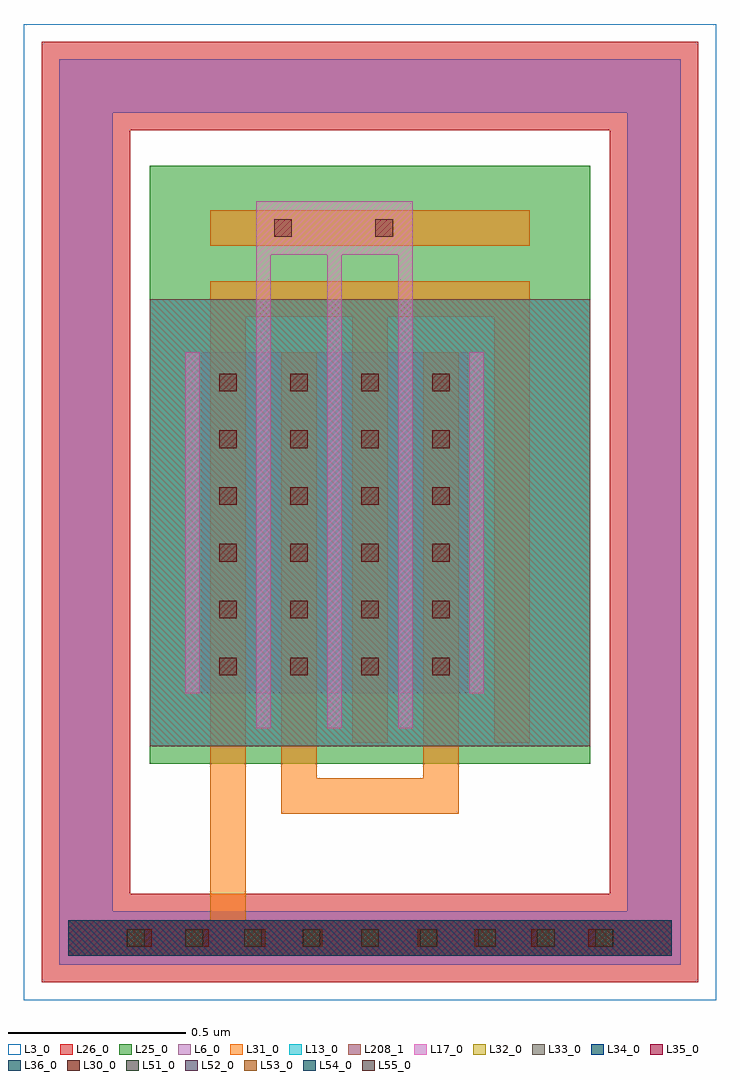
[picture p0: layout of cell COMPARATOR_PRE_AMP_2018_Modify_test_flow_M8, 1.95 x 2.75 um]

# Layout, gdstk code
import gdstk
lib = gdstk.Library(unit=1e-6, precision=1e-09)
def R(c, l, rs):  # rectangles x0, y0, x1, y1
    for r in rs: c.add(gdstk.rectangle(r[:2], r[2:], *l))
def A(c, l, x, y, w, h, nx, ny, dx, dy):  # array of equal rectangles
    R(c, l, [(x+i*dx, y+j*dy, x+i*dx+w, y+j*dy+h) for i in range(nx) for j in range(ny)])
L3_0 = (3, 0)
L6_0 = (6, 0)
L13_0 = (13, 0)
L17_0 = (17, 0)
L25_0 = (25, 0)
L26_0 = (26, 0)
L30_0 = (30, 0)
L31_0 = (31, 0)
L32_0 = (32, 0)
L33_0 = (33, 0)
L34_0 = (34, 0)
L35_0 = (35, 0)
L36_0 = (36, 0)
L51_0 = (51, 0)
L52_0 = (52, 0)
L53_0 = (53, 0)
L54_0 = (54, 0)
L55_0 = (55, 0)
L208_1 = (208, 1)

comparator_pre_amp_2018_ = lib.new_cell('COMPARATOR_PRE_AMP_2018_Modify_test_flow_M8')
R(comparator_pre_amp_2018_, L3_0, [(-0.575,-0.775,1.375,1.975), (-0.22,-0.06,1.02,1.2)])
R(comparator_pre_amp_2018_, L6_0, [(-0.475,-0.675,-0.325,-0.525), (-0.325,-0.675,1.125,-0.525), (1.125,-0.675,1.275,-0.525), (-0.475,-0.525,-0.325,1.725), (1.125,-0.525,1.275,1.725), (-0.075,0.09,0.675,1.05), (-0.475,1.725,-0.325,1.875), (-0.325,1.725,1.125,1.875), (1.125,1.725,1.275,1.875)])
R(comparator_pre_amp_2018_, L13_0, [(-0.22,-0.06,1.02,1.2)])
A(comparator_pre_amp_2018_, L17_0, 0.08, -0.01, 0.04, 1.16, 3, 1, 0.2, 0)
A(comparator_pre_amp_2018_, L17_0, 0.08, 1.05, 0.04, 0.3, 3, 1, 0.2, 0)
R(comparator_pre_amp_2018_, L17_0, [(-0.12,0.09,-0.08,1.05), (0.68,0.09,0.72,1.05), (0.08,1.325,0.52,1.475)])
R(comparator_pre_amp_2018_, L25_0, [(-0.22,-0.11,1.02,1.575)])
R(comparator_pre_amp_2018_, L26_0, [(-0.525,-0.725,-0.275,-0.475), (-0.325,-0.725,1.125,-0.475), (1.075,-0.725,1.325,-0.475), (-0.525,-0.525,-0.275,1.725), (1.075,-0.525,1.325,1.725), (-0.525,1.675,-0.275,1.925), (-0.325,1.675,1.125,1.925), (1.075,1.675,1.325,1.925)])
A(comparator_pre_amp_2018_, L30_0, -0.265, -0.625, 0.05, 0.05, 9, 1, 0.16, 0)
A(comparator_pre_amp_2018_, L30_0, -0.025, 0.14, 0.05, 0.05, 4, 6, 0.2, 0.16)
R(comparator_pre_amp_2018_, L30_0, [(0.13,1.375,0.18,1.425), (0.415,1.375,0.465,1.425)])
A(comparator_pre_amp_2018_, L31_0, -0.05, -0.05, 0.1, 1.1, 5, 1, 0.2, 0)
A(comparator_pre_amp_2018_, L31_0, -0.05, 0.09, 0.1, 0.96, 4, 1, 0.2, 0)
A(comparator_pre_amp_2018_, L31_0, -0.05, 1.05, 0.1, 0.1, 3, 1, 0.4, 0)
R(comparator_pre_amp_2018_, L31_0, [(-0.45,-0.65,-0.35,-0.55), (-0.35,-0.65,-0.325,-0.55), (-0.325,-0.65,1.125,-0.55), (-0.05,-0.65,0.05,1.15), (1.125,-0.65,1.15,-0.55), (1.15,-0.65,1.25,-0.55), (0.15,-0.25,0.65,-0.15), (0.15,-0.15,0.25,-0.05), (0.55,-0.15,0.65,-0.05), (-0.05,1.15,0.85,1.25), (-0.05,1.35,0.85,1.45), (0.08,1.35,0.52,1.45)])
R(comparator_pre_amp_2018_, L32_0, [(-0.45,-0.65,-0.35,-0.55), (-0.35,-0.65,-0.325,-0.55), (-0.325,-0.65,1.125,-0.55), (1.125,-0.65,1.15,-0.55), (1.15,-0.65,1.25,-0.55)])
R(comparator_pre_amp_2018_, L33_0, [(-0.45,-0.65,-0.35,-0.55), (-0.35,-0.65,-0.325,-0.55), (-0.325,-0.65,1.125,-0.55), (1.125,-0.65,1.15,-0.55), (1.15,-0.65,1.25,-0.55)])
R(comparator_pre_amp_2018_, L34_0, [(-0.45,-0.65,-0.35,-0.55), (-0.35,-0.65,-0.325,-0.55), (-0.325,-0.65,1.125,-0.55), (1.125,-0.65,1.15,-0.55), (1.15,-0.65,1.25,-0.55)])
R(comparator_pre_amp_2018_, L35_0, [(-0.45,-0.65,-0.35,-0.55), (-0.35,-0.65,-0.325,-0.55), (-0.325,-0.65,1.125,-0.55), (1.125,-0.65,1.15,-0.55), (1.15,-0.65,1.25,-0.55)])
R(comparator_pre_amp_2018_, L36_0, [(-0.45,-0.65,-0.35,-0.55), (-0.35,-0.65,-0.325,-0.55), (-0.325,-0.65,1.125,-0.55), (1.125,-0.65,1.15,-0.55), (1.15,-0.65,1.25,-0.55)])
A(comparator_pre_amp_2018_, L51_0, -0.285, -0.625, 0.05, 0.05, 9, 1, 0.165, 0)
A(comparator_pre_amp_2018_, L52_0, -0.285, -0.625, 0.05, 0.05, 9, 1, 0.165, 0)
A(comparator_pre_amp_2018_, L53_0, -0.285, -0.625, 0.05, 0.05, 9, 1, 0.165, 0)
A(comparator_pre_amp_2018_, L54_0, -0.285, -0.625, 0.05, 0.05, 9, 1, 0.165, 0)
A(comparator_pre_amp_2018_, L55_0, -0.285, -0.625, 0.05, 0.05, 9, 1, 0.165, 0)
R(comparator_pre_amp_2018_, L208_1, [(-0.22,-0.06,1.02,1.2)])

lib.write_gds('COMPARATOR_PRE_AMP_2018_Modify_test_flow_M8.gds')
